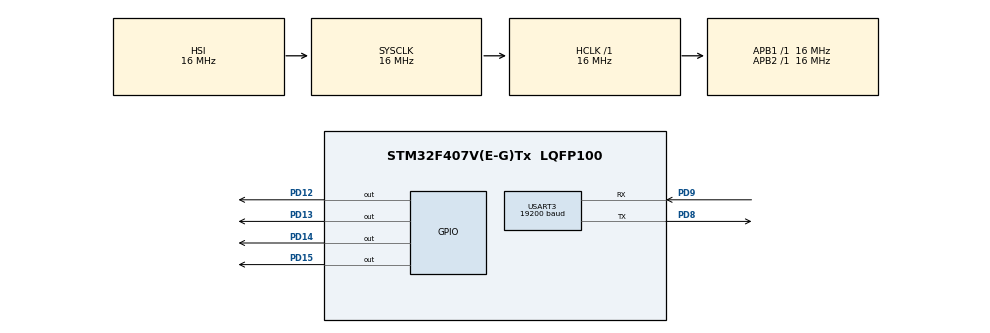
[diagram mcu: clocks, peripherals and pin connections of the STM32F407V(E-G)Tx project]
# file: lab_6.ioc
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Mcu.Family=STM32F4
Mcu.Name=STM32F407V(E-G)Tx
Mcu.Package=LQFP100
NVIC.PriorityGroup=NVIC_PRIORITYGROUP_4
PD12.Signal=GPIO_Output
PD13.Signal=GPIO_Output
PD14.Signal=GPIO_Output
PD15.Signal=GPIO_Output
PD8.Mode=Asynchronous
PD8.Signal=USART3_TX
PD9.Mode=Asynchronous
PD9.Signal=USART3_RX
ProjectManager.HeapSize=0x200
ProjectManager.StackSize=0x400
ProjectManager.TargetToolchain=STM32CubeIDE
RCC.AHBFreq_Value=16000000
RCC.APB1Freq_Value=16000000
RCC.APB2Freq_Value=16000000
RCC.CortexFreq_Value=16000000
RCC.HSE_VALUE=25000000
RCC.HSI_VALUE=16000000
RCC.LSE_VALUE=32768
RCC.SYSCLKFreq_VALUE=16000000
RCC.VCOOutputFreq_Value=192000000
USART3.BaudRate=19200
USART3.VirtualMode=VM_ASYNC
board=custom

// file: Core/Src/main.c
/* USER CODE BEGIN Header */
/**
  ******************************************************************************
  * @file           : main.c
  * @brief          : Main program body
  ******************************************************************************
  * @attention
  *
  * Copyright (c) 2024 STMicroelectronics.
  * All rights reserved.
  *
  * This software is licensed under terms that can be found in the LICENSE file
  * in the root directory of this software component.
  * If no LICENSE file comes with this software, it is provided AS-IS.
  *
  ******************************************************************************
  */
/* USER CODE END Header */
#include "main.h"

UART_HandleTypeDef huart3;

void SystemClock_Config(void);
static void MX_GPIO_Init(void);
static void MX_USART3_UART_Init(void);

int main(void)
{

  /* MCU Configuration--------------------------------------------------------*/

  /* Reset of all peripherals, Initializes the Flash interface and the Systick. */
  HAL_Init();

  /* Configure the system clock */
  SystemClock_Config();

  /* Initialize all configured peripherals */
  MX_GPIO_Init();
  MX_USART3_UART_Init();

  /* Infinite loop */
  /* USER CODE BEGIN WHILE */
  while (1)
   {
     uint8_t buf[1];
     HAL_StatusTypeDef res;
     GPIO_PinState state;
     res = HAL_UART_Receive(&huart3, buf, 1, 10);
     if (res == HAL_OK) {
         switch (buf[0]){
             case '1':
                 state = HAL_GPIO_ReadPin(GPIOD, GPIO_PIN_12);
                 if (state == GPIO_PIN_RESET) {
                     HAL_GPIO_WritePin(GPIOD, GPIO_PIN_12, GPIO_PIN_SET);
                     HAL_UART_Transmit(&huart3, (uint8_t *)" - green ON\r\n", 13, 100);
                 } else {
                     HAL_GPIO_WritePin(GPIOD, GPIO_PIN_12, GPIO_PIN_RESET);
                     HAL_UART_Transmit(&huart3, (uint8_t *)" - green OFF\r\n", 14, 100);
                 }
                 break;

             case '2':
                 state = HAL_GPIO_ReadPin(GPIOD, GPIO_PIN_13);
                 if (state == GPIO_PIN_RESET) {
                     HAL_GPIO_WritePin(GPIOD, GPIO_PIN_13, GPIO_PIN_SET);
                     HAL_UART_Transmit(&huart3, (uint8_t *)" - orange ON\r\n", 14, 100);
                 } else {
                     HAL_GPIO_WritePin(GPIOD, GPIO_PIN_13, GPIO_PIN_RESET);
                     HAL_UART_Transmit(&huart3, (uint8_t *)" - orange OFF\r\n", 15, 100);
                 }
                 break;

             case '3':
                 state = HAL_GPIO_ReadPin(GPIOD, GPIO_PIN_14);
                 if (state == GPIO_PIN_RESET) {
                     HAL_GPIO_WritePin(GPIOD, GPIO_PIN_14, GPIO_PIN_SET);
                     HAL_UART_Transmit(&huart3, (uint8_t *)" - red ON\r\n", 11, 100);
                 } else {
                     HAL_GPIO_WritePin(GPIOD, GPIO_PIN_14, GPIO_PIN_RESET);
                     HAL_UART_Transmit(&huart3, (uint8_t *)" - red OFF\r\n", 12, 100);
                 }
                 break;

             case '4':
                 state = HAL_GPIO_ReadPin(GPIOD, GPIO_PIN_15);
                 if (state == GPIO_PIN_RESET) {
                     HAL_GPIO_WritePin(GPIOD, GPIO_PIN_15, GPIO_PIN_SET);
                     HAL_UART_Transmit(&huart3, (uint8_t *)" - blue ON\r\n", 12, 100);
                 } else {
                     HAL_GPIO_WritePin(GPIOD, GPIO_PIN_15, GPIO_PIN_RESET);
                     HAL_UART_Transmit(&huart3, (uint8_t *)" - blue OFF\r\n", 13, 100);
                 }
                 break;

             case '5':
                 HAL_GPIO_WritePin(GPIOD, GPIO_PIN_12, GPIO_PIN_SET);
                 HAL_GPIO_WritePin(GPIOD, GPIO_PIN_13, GPIO_PIN_SET);
                 HAL_GPIO_WritePin(GPIOD, GPIO_PIN_14, GPIO_PIN_SET);
                 HAL_GPIO_WritePin(GPIOD, GPIO_PIN_15, GPIO_PIN_SET);
                 HAL_UART_Transmit(&huart3, (uint8_t *)" - all ON\r\n", 11, 100);
                 break;

             case '6':
                 HAL_GPIO_WritePin(GPIOD, GPIO_PIN_12, GPIO_PIN_RESET);
                 HAL_GPIO_WritePin(GPIOD, GPIO_PIN_13, GPIO_PIN_RESET);
                 HAL_GPIO_WritePin(GPIOD, GPIO_PIN_14, GPIO_PIN_RESET);
                 HAL_GPIO_WritePin(GPIOD, GPIO_PIN_15, GPIO_PIN_RESET);
                 HAL_UART_Transmit(&huart3, (uint8_t *)" - all OFF\r\n", 12, 100);
                 break;
             default:
                 HAL_UART_Transmit(&huart3, (uint8_t *)" - unknown\r\n", 12, 100);
                 break;
         }
     }
     /* USER CODE END WHILE */

   }
 }

void SystemClock_Config(void)
{
  RCC_OscInitTypeDef RCC_OscInitStruct = {0};
  RCC_ClkInitTypeDef RCC_ClkInitStruct = {0};

  /** Configure the main internal regulator output voltage
  */
  __HAL_RCC_PWR_CLK_ENABLE();
  __HAL_PWR_VOLTAGESCALING_CONFIG(PWR_REGULATOR_VOLTAGE_SCALE1);

  /** Initializes the RCC Oscillators according to the specified parameters
  * in the RCC_OscInitTypeDef structure.
  */
  RCC_OscInitStruct.OscillatorType = RCC_OSCILLATORTYPE_HSI;
  RCC_OscInitStruct.HSIState = RCC_HSI_ON;
  RCC_OscInitStruct.HSICalibrationValue = RCC_HSICALIBRATION_DEFAULT;
  RCC_OscInitStruct.PLL.PLLState = RCC_PLL_NONE;
  if (HAL_RCC_OscConfig(&RCC_OscInitStruct) != HAL_OK)
  {
    Error_Handler();
  }

  /** Initializes the CPU, AHB and APB buses clocks
  */
  RCC_ClkInitStruct.ClockType = RCC_CLOCKTYPE_HCLK|RCC_CLOCKTYPE_SYSCLK
                              |RCC_CLOCKTYPE_PCLK1|RCC_CLOCKTYPE_PCLK2;
  RCC_ClkInitStruct.SYSCLKSource = RCC_SYSCLKSOURCE_HSI;
  RCC_ClkInitStruct.AHBCLKDivider = RCC_SYSCLK_DIV1;
  RCC_ClkInitStruct.APB1CLKDivider = RCC_HCLK_DIV1;
  RCC_ClkInitStruct.APB2CLKDivider = RCC_HCLK_DIV1;

  if (HAL_RCC_ClockConfig(&RCC_ClkInitStruct, FLASH_LATENCY_0) != HAL_OK)
  {
    Error_Handler();
  }
}

static void MX_USART3_UART_Init(void)
{

  huart3.Instance = USART3;
  huart3.Init.BaudRate = 19200;
  huart3.Init.WordLength = UART_WORDLENGTH_8B;
  huart3.Init.StopBits = UART_STOPBITS_1;
  huart3.Init.Parity = UART_PARITY_NONE;
  huart3.Init.Mode = UART_MODE_TX_RX;
  huart3.Init.HwFlowCtl = UART_HWCONTROL_NONE;
  huart3.Init.OverSampling = UART_OVERSAMPLING_16;
  if (HAL_UART_Init(&huart3) != HAL_OK)
  {
    Error_Handler();
  }

}

static void MX_GPIO_Init(void)
{
  GPIO_InitTypeDef GPIO_InitStruct = {0};

  /* GPIO Ports Clock Enable */
  __HAL_RCC_GPIOD_CLK_ENABLE();

  /*Configure GPIO pin Output Level */
  HAL_GPIO_WritePin(GPIOD, GPIO_PIN_12|GPIO_PIN_13|GPIO_PIN_14|GPIO_PIN_15, GPIO_PIN_RESET);

  /*Configure GPIO pins : PD12 PD13 PD14 PD15 */
  GPIO_InitStruct.Pin = GPIO_PIN_12|GPIO_PIN_13|GPIO_PIN_14|GPIO_PIN_15;
  GPIO_InitStruct.Mode = GPIO_MODE_OUTPUT_PP;
  GPIO_InitStruct.Pull = GPIO_NOPULL;
  GPIO_InitStruct.Speed = GPIO_SPEED_FREQ_LOW;
  HAL_GPIO_Init(GPIOD, &GPIO_InitStruct);

}

void Error_Handler(void)
{
  __disable_irq();
  while (1)
  {
  }
}
